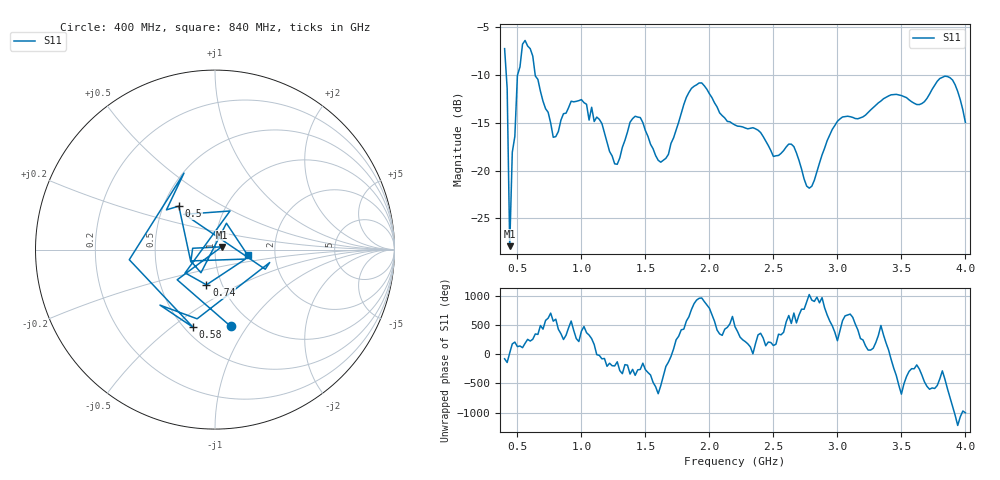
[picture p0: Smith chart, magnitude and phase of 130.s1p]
!Created with skrf (http://scikit-rf.org).
# Hz S RI R 50.0
!freq ReS11 ImS11
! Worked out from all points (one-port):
!   181 points, 400 MHz to 4 GHz, reference 50 ohm
!   lowest |S11| = -27.9 dB at 440 MHz (marker M1), VSWR 1.08, Z = 53.8 + j1.66 ohm
!   |S11| at or under -10 dB: 413.3 MHz to 500.6 MHz (87.31 MHz wide, 19.1 % of centre); 639.2 MHz to end of sweep
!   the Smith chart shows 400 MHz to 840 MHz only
!   S11 on the Smith chart (normalised r, x): 400 MHz: 0.80, -0.84; 500 MHz: 0.60, +0.32; 580 MHz: 0.55, -0.60; 740 MHz: 0.84, -0.35; 840 MHz: 1.44, -0.09
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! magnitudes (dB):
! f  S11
! 400 MHz  -7.2
! 420 MHz  -11.4
! 440 MHz  -27.9
! 460 MHz  -18.1
! 480 MHz  -16.4
! 500 MHz  -10.0
! 540 MHz  -6.7
! 580 MHz  -6.9
! 740 MHz  -13.9
! 780 MHz  -16.5
! 840 MHz  -14.7
! 860 MHz  -14.0
! 1.08 GHz  -13.4
! 1.26 GHz  -19.3
! 1.3 GHz  -18.7
! 1.42 GHz  -14.3
! 1.62 GHz  -19.1
! 1.76 GHz  -14.9
! 1.94 GHz  -10.8
! 2.2 GHz  -15.2
! 2.5 GHz  -18.5
! 2.66 GHz  -17.5
! 2.78 GHz  -21.8
! 2.96 GHz  -15.7
! 3.1 GHz  -14.4
! 3.56 GHz  -12.6
! 3.86 GHz  -10.1
! 4 GHz  -15.0
